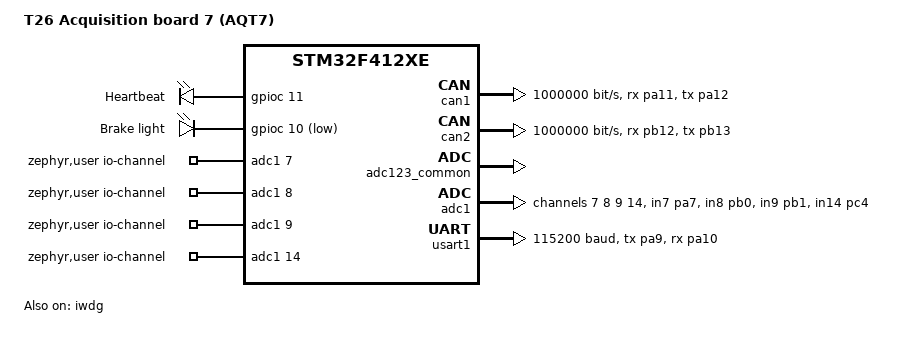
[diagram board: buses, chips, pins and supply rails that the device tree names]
/*
 * T26 Acquisition board 7 (AQT7)
 * MCU: STM32F412RET6 (512 KB Flash, 256 KB RAM, LQFP64)
 *
 * Pins and clocks follow T26_Acquisition_7.ioc (read-only reference).
 * Described: clocks, console, the two outputs, CAN1, CAN2, ADC1 and IWDG.
 */

/dts-v1/;
#include <st/f4/stm32f412Xe.dtsi>
#include <st/f4/stm32f412r(e-g)tx-pinctrl.dtsi>
#include <zephyr/dt-bindings/adc/adc.h>

/ {
	model = "T26 Acquisition board 7 (AQT7)";
	compatible = "t26,aqt7";

	chosen {
		zephyr,console = &usart1;
		zephyr,shell-uart = &usart1;
		zephyr,sram = &sram0;
		zephyr,flash = &flash0;
	};

	leds: leds {
		compatible = "gpio-leds";

		/* PC11, toggled by the firmware to show the main loop is alive */
		heartbeat: heartbeat {
			gpios = <&gpioc 11 GPIO_ACTIVE_HIGH>;
			label = "Heartbeat";
		};

		/* LIGHT SHOULD TURN ON WHEN BRAKING
		 * 10Kohm pull down on R55 with TYPE P MOSFET (NOT N, IGNORE SCH)
		 */
		brake_light: brake_light {
			gpios = <&gpioc 10 GPIO_ACTIVE_LOW>;
			label = "Brake light";
		};
	};

	aliases {
		led0 = &heartbeat;	/* lets samples/basic/blinky run unmodified */
		heartbeat = &heartbeat;
		brake-light = &brake_light;
		can-autonomous = &can1;
		can-data = &can2;
		watchdog0 = &iwdg;
	};

	/* ADC channels in scan order, for ADC_DT_SPEC_GET_BY_IDX(DT_PATH(zephyr_user), i):
	 * 0 brake pressure, 1 left suspension, 2 right suspension, 3 coolant NTC
	 */
	zephyr,user {
		io-channels = <&adc1 7>, <&adc1 8>, <&adc1 9>, <&adc1 14>;
	};
};

/*
 * CAN1: PA11 RX / PA12 TX, 1 Mbit/s.
 * IOC: prescaler 3, BS1 11, BS2 4 -> 16 tq at 48 MHz APB1, sample point (1 + 11) / 16 = 75 %.
 */
&can1 {
	pinctrl-0 = <&can1_rx_pa11 &can1_tx_pa12>;
	pinctrl-names = "default";
	bitrate = <1000000>;
	sample-point = <750>;
	status = "okay";
};

/*
 * CAN2 (DATA bus): PB12 RX / PB13 TX, 1 Mbit/s.
 * IOC: prescaler 3, BS1 13, BS2 2 -> 16 tq, sample point (1 + 13) / 16 = 87.5 %.
 * CAN2 is a slave of CAN1 (shared filter banks), so CAN1 must stay enabled.
 */
&can2 {
	pinctrl-0 = <&can2_rx_pb12 &can2_tx_pb13>;
	pinctrl-names = "default";
	bitrate = <1000000>;
	sample-point = <875>;
	status = "okay";
};

/* RX pins have the internal pull-up enabled in the IOC */
&can1_rx_pa11 {
	bias-pull-up;
};

&can2_rx_pb12 {
	bias-pull-up;
};

/* ADC clock = APB2 96 MHz / 4 = 24 MHz (max 36 MHz on the F412) */
&adc123_common {
	st,adc-prescaler = <4>;
	status = "okay";
};

/*
 * ADC1, 12 bit, 480 cycle sampling on every channel (same as the IOC).
 * The channel order matches the IOC scan ranks 1-4.
 */
&adc1 {
	pinctrl-0 = <&adc1_in7_pa7 &adc1_in8_pb0 &adc1_in9_pb1 &adc1_in14_pc4>;
	pinctrl-names = "default";
	status = "okay";
	#address-cells = <1>;
	#size-cells = <0>;

	/* Rank 1, PA7: brake pressure (BRK_PRESS) */
	brk_press: channel@7 {
		reg = <7>;
		zephyr,gain = "ADC_GAIN_1";
		zephyr,reference = "ADC_REF_INTERNAL";
		zephyr,acquisition-time = <ADC_ACQ_TIME(ADC_ACQ_TIME_TICKS, 480)>;
		zephyr,resolution = <12>;
	};

	/* Rank 2, PB0: left suspension (SUSP_LEFT) */
	susp_left: channel@8 {
		reg = <8>;
		zephyr,gain = "ADC_GAIN_1";
		zephyr,reference = "ADC_REF_INTERNAL";
		zephyr,acquisition-time = <ADC_ACQ_TIME(ADC_ACQ_TIME_TICKS, 480)>;
		zephyr,resolution = <12>;
	};

	/* Rank 3, PB1: right suspension (SUSP_RIGHT) */
	susp_right: channel@9 {
		reg = <9>;
		zephyr,gain = "ADC_GAIN_1";
		zephyr,reference = "ADC_REF_INTERNAL";
		zephyr,acquisition-time = <ADC_ACQ_TIME(ADC_ACQ_TIME_TICKS, 480)>;
		zephyr,resolution = <12>;
	};

	/* Rank 4, PC4: coolant NTC (NTC1) */
	ntc1: channel@e {
		reg = <14>;
		zephyr,gain = "ADC_GAIN_1";
		zephyr,reference = "ADC_REF_INTERNAL";
		zephyr,acquisition-time = <ADC_ACQ_TIME(ADC_ACQ_TIME_TICKS, 480)>;
		zephyr,resolution = <12>;
	};
};

/* LSI ~32 kHz: clock for the IWDG */
&clk_lsi {
	status = "okay";
};

/*
 * Independent watchdog, clocked from the LSI.
 * The timeout (~2 s in the CubeIDE firmware) is not a devicetree property:
 * the app sets it with wdt_install_timeout() (window.max = 2000 ms), then wdt_setup().
 */
&iwdg {
	status = "okay";
};

/* No crystal on the board: HSI 16 MHz, same as the CubeIDE firmware */
&clk_hsi {
	status = "okay";
};

/* 16 MHz / 8 * 96 = 192 MHz VCO, /2 = 96 MHz SYSCLK, /4 = 48 MHz (Q, unused) */
&pll {
	div-m = <8>;
	mul-n = <96>;
	div-p = <2>;
	div-q = <4>;
	clocks = <&clk_hsi>;
	status = "okay";
};

/* SYSCLK 96 MHz, APB1 48 MHz (CAN), APB2 96 MHz (ADC, USART1) */
&rcc {
	clocks = <&pll>;
	clock-frequency = <DT_FREQ_M(96)>;
	ahb-prescaler = <1>;
	apb1-prescaler = <2>;
	apb2-prescaler = <1>;
};

&usart1 {
	pinctrl-0 = <&usart1_tx_pa9 &usart1_rx_pa10>;
	pinctrl-names = "default";
	current-speed = <115200>;
	status = "okay";
};
